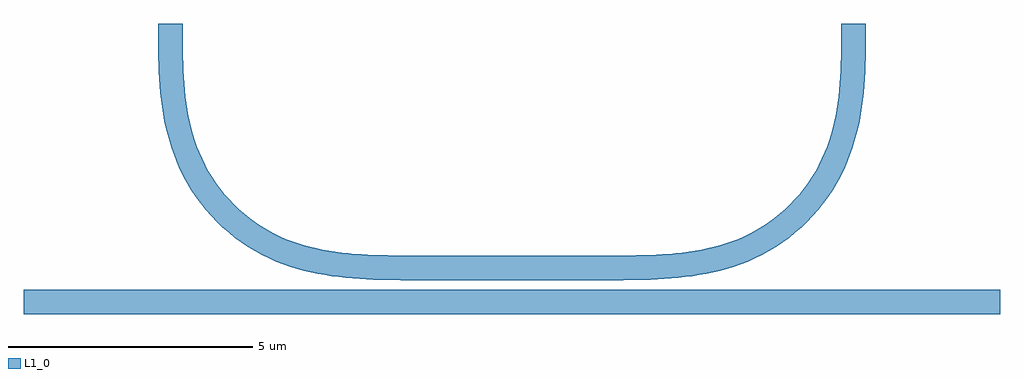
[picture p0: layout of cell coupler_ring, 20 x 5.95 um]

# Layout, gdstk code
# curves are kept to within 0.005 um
from math import pi, radians
import gdstk
lib = gdstk.Library(unit=1e-6, precision=1e-09)
def R(c, l, rs):  # rectangles x0, y0, x1, y1
    for r in rs: c.add(gdstk.rectangle(r[:2], r[2:], *l))
def P(c, l, *ps):  # polygons
    for p in ps: c.add(gdstk.Polygon(p, *l))
L1_0 = (1, 0)

bend_euler_radius5p0 = lib.new_cell('bend_euler_radius5p0')
P(bend_euler_radius5p0, L1_0, [(0,-0.25),(0.841,-0.24),(1.41,-0.203),(1.696,-0.169),(1.982,-0.121),(2.408,-0.018),(2.549,0.025),(2.826,0.128),(2.977,0.194),(3.27,0.347),(3.411,0.432),(3.681,0.621),(3.933,0.833),(4.053,0.947),(4.167,1.067),(4.379,1.319),(4.568,1.589),(4.653,1.73),(4.733,1.875),(4.872,2.174),(4.975,2.451),(5.018,2.592),(5.121,3.018),(5.169,3.304),(5.203,3.59),(5.24,4.159),(5.25,5),(4.75,5),(4.74,4.177),(4.706,3.64),(4.674,3.375),(4.63,3.114),(4.538,2.732),(4.5,2.608),(4.41,2.366),(4.289,2.106),(4.22,1.98),(4.146,1.858),(3.982,1.624),(3.798,1.404),(3.699,1.301),(3.596,1.202),(3.376,1.018),(3.142,0.854),(3.02,0.78),(2.894,0.711),(2.634,0.59),(2.392,0.5),(2.268,0.462),(1.886,0.37),(1.625,0.326),(1.36,0.294),(0.823,0.26),(0,0.25)])

straight_length5p0 = lib.new_cell('straight_length5p0')
R(straight_length5p0, L1_0, [(0,-0.25,5,0.25)])

coupler90_radius5p0 = lib.new_cell('coupler90_radius5p0')
coupler90_radius5p0.add(gdstk.Reference(bend_euler_radius5p0, (0,0.7)))
coupler90_radius5p0.add(gdstk.Reference(straight_length5p0, (0,0)))

straight_length4p0 = lib.new_cell('straight_length4p0')
R(straight_length4p0, L1_0, [(0,-0.25,4,0.25)])

coupler_straight_769ef0d = lib.new_cell('coupler_straight_769ef0d8')
coupler_straight_769ef0d.add(gdstk.Reference(straight_length4p0, (0,0.7)))
coupler_straight_769ef0d.add(gdstk.Reference(straight_length4p0, (0,0)))

straight_length3 = lib.new_cell('straight_length3')
R(straight_length3, L1_0, [(0,-0.25,3,0.25)])

coupler_ring = lib.new_cell('coupler_ring')
coupler_ring.add(gdstk.Reference(coupler90_radius5p0, (-4,0), rotation=pi, x_reflection=True))
coupler_ring.add(gdstk.Reference(coupler90_radius5p0, (0,0)))
coupler_ring.add(gdstk.Reference(coupler_straight_769ef0d, (-4,0)))
coupler_ring.add(gdstk.Reference(straight_length3, (-12,0)))
coupler_ring.add(gdstk.Reference(straight_length3, (5,0)))

lib.write_gds('coupler_ring.gds')
